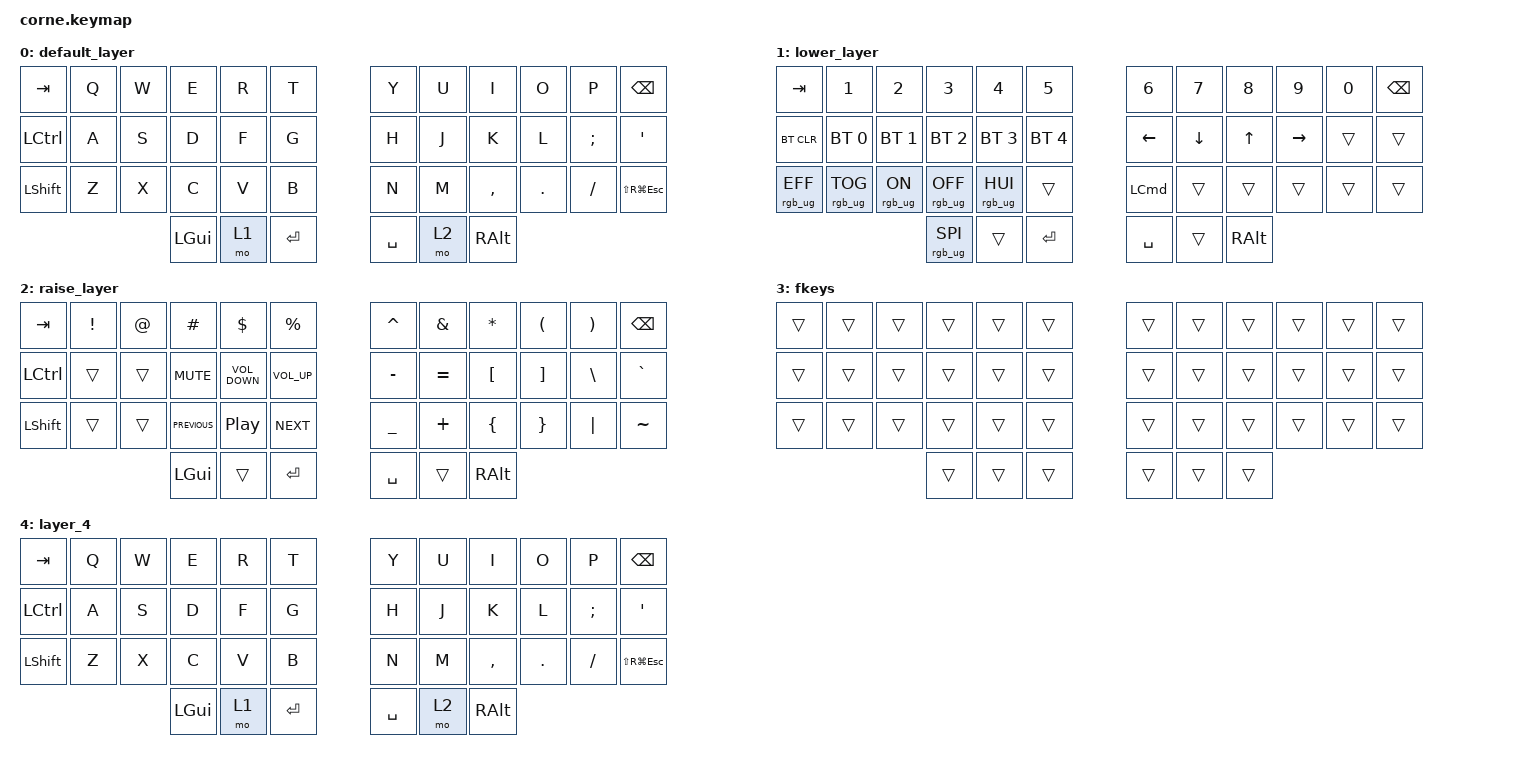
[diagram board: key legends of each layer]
/*
 * Copyright (c) 2020 The ZMK Contributors
 *
 * SPDX-License-Identifier: MIT
 */

#include <behaviors.dtsi>
#include <dt-bindings/zmk/bt.h>
#include <dt-bindings/zmk/keys.h>
#include <dt-bindings/zmk/rgb.h>

/ {
    behaviors {
        mt: mod_tap {
            compatible = "zmk,behavior-hold-tap";
            #binding-cells = <2>;
            flavor = "tap-preferred";
            tapping-term-ms = <200>;
            quick-tap-ms = <150>;
            bindings = <&kp>, <&kp>;

            display-name = "Mod-Tap";
        };
    };

    combos {
        compatible = "zmk,combos";

        screenshot {
            bindings = <&kp LC(LG(LS(NUMBER_4)))>;
            key-positions = <0 12 24>;
        };

        escape {
            bindings = <&kp ESCAPE>;
            key-positions = <19 20>;
        };
    };

    keymap {
        compatible = "zmk,keymap";

        default_layer {
            // -----------------------------------------------------------------------------------------
            // |  TAB |  Q  |  W  |  E  |  R  |  T  |   |  Y  |  U   |  I  |  O  |  P  | BKSP |
            // | CTRL |  A  |  S  |  D  |  F  |  G  |   |  H  |  J   |  K  |  L  |  ;  |  '   |
            // | SHFT |  Z  |  X  |  C  |  V  |  B  |   |  N  |  M   |  ,  |  .  |  /  | ESC  |
            //                    | GUI | LWR | SPC |   | ENT | RSE  | ALT |

            bindings = <
&kp TAB    &kp Q  &kp W  &kp E     &kp R  &kp T        &kp Y      &kp U  &kp I      &kp O    &kp P     &kp BSPC
&kp LCTRL  &kp A  &kp S  &kp D     &kp F  &kp G        &kp H      &kp J  &kp K      &kp L    &kp SEMI  &kp SQT
&kp LSHFT  &kp Z  &kp X  &kp C     &kp V  &kp B        &kp N      &kp M  &kp COMMA  &kp DOT  &kp FSLH  &kp LS(RG(ESC))
                         &kp LGUI  &mo 1  &kp ENTER    &kp SPACE  &mo 2  &kp RALT
            >;
        };

        lower_layer {
            // -----------------------------------------------------------------------------------------
            // |  TAB |  1  |  2  |  3  |  4  |  5  |   |  6  |  7  |  8  |  9  |  0  | BKSP |
            // | BTCLR| BT1 | BT2 | BT3 | BT4 | BT5 |   | LFT | DWN |  UP | RGT |     |      |
            // | SHFT |     |     |     |     |     |   |     |     |     |     |     |      |
            //                    | GUI |     | SPC |   | ENT |     | ALT |

            bindings = <
&kp TAB          &kp N1           &kp N2          &kp N3           &kp N4           &kp N5          &kp N6            &kp N7    &kp N8    &kp N9     &kp N0  &kp BSPC
&bt BT_CLR       &bt BT_SEL 0     &bt BT_SEL 1    &bt BT_SEL 2     &bt BT_SEL 3     &bt BT_SEL 4    &kp LEFT          &kp DOWN  &kp UP    &kp RIGHT  &trans  &trans
&rgb_ug RGB_EFF  &rgb_ug RGB_TOG  &rgb_ug RGB_ON  &rgb_ug RGB_OFF  &rgb_ug RGB_HUI  &trans          &kp LEFT_COMMAND  &trans    &trans    &trans     &trans  &trans
                                                  &rgb_ug RGB_SPI  &trans           &kp ENTER       &kp SPACE         &trans    &kp RALT
            >;
        };

        raise_layer {
            // -----------------------------------------------------------------------------------------
            // |  TAB |  !  |  @  |  #  |  $  |  %  |   |  ^  |  &  |  *  |  (  |  )  | BKSP |
            // | CTRL |     |     |     |     |     |   |  -  |  =  |  [  |  ]  |  \  |  `   |
            // | SHFT |     |     |     |     |     |   |  _  |  +  |  {  |  }  | "|" |  ~   |
            //                    | GUI |     | SPC |   | ENT |     | ALT |

            bindings = <
&kp TAB    &kp EXCL  &kp AT  &kp HASH        &kp DLLR           &kp PRCNT          &kp CARET  &kp AMPS   &kp ASTRK  &kp LPAR  &kp RPAR  &kp BSPC
&kp LCTRL  &trans    &trans  &kp K_MUTE      &kp C_VOLUME_DOWN  &kp C_VOLUME_UP    &kp MINUS  &kp EQUAL  &kp LBKT   &kp RBKT  &kp BSLH  &kp GRAVE
&kp LSHFT  &trans    &trans  &kp C_PREVIOUS  &kp C_PLAY_PAUSE   &kp C_NEXT         &kp UNDER  &kp PLUS   &kp LBRC   &kp RBRC  &kp PIPE  &kp TILDE
                             &kp LGUI        &trans             &kp ENTER          &kp SPACE  &trans     &kp RALT
            >;
        };

        fkeys {
            bindings = <
&trans  &trans  &trans  &trans  &trans  &trans    &trans  &trans  &trans  &trans  &trans  &trans
&trans  &trans  &trans  &trans  &trans  &trans    &trans  &trans  &trans  &trans  &trans  &trans
&trans  &trans  &trans  &trans  &trans  &trans    &trans  &trans  &trans  &trans  &trans  &trans
                        &trans  &trans  &trans    &trans  &trans  &trans
            >;
        };

        layer_4 {
            bindings = <
&kp TAB    &kp Q  &kp W  &kp E     &kp R  &kp T        &kp Y      &kp U  &kp I      &kp O    &kp P     &kp BSPC
&kp LCTRL  &kp A  &kp S  &kp D     &kp F  &kp G        &kp H      &kp J  &kp K      &kp L    &kp SEMI  &kp SQT
&kp LSHFT  &kp Z  &kp X  &kp C     &kp V  &kp B        &kp N      &kp M  &kp COMMA  &kp DOT  &kp FSLH  &kp LS(RG(ESC))
                         &kp LGUI  &mo 1  &kp ENTER    &kp SPACE  &mo 2  &kp RALT
            >;
        };
    };

    conditional_layers {
        compatible = "zmk,conditional-layers";

        numpad_config {
            if-layers = <1 2>;
            then-layer = <3>;
        };
    };
};
